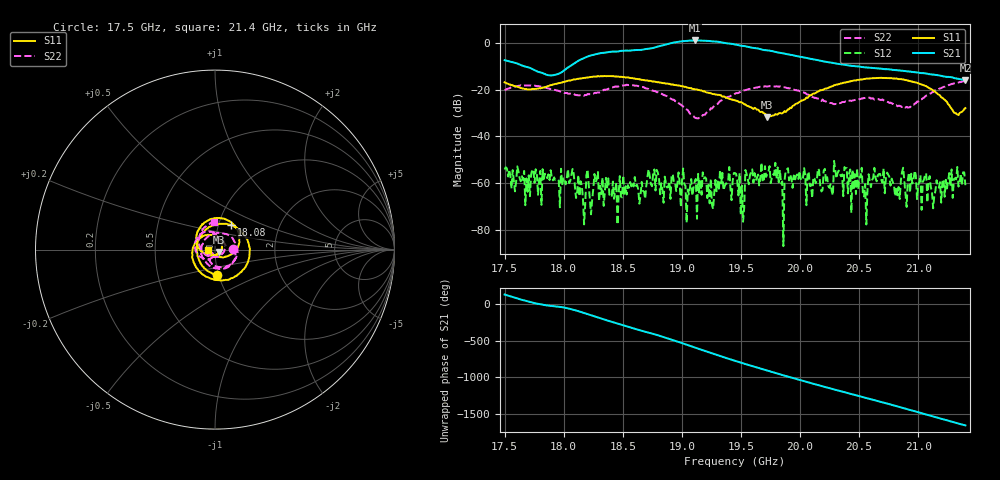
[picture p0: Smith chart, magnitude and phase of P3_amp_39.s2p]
!Created with skrf (http://scikit-rf.org).
# GHz S RI R 50.0
!freq ReS11 ImS11 ReS21 ImS21 ReS12 ImS12 ReS22 ImS22
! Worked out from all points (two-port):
!   401 points, 17.5 GHz to 21.4 GHz, reference 50 ohm
!   highest |S21| = 1.12 dB at 19.11 GHz (marker M1); lowest = -15.9 dB at 21.4 GHz (marker M2)
!   |S21| within 3 dB of the highest: 18.77 GHz to 19.58 GHz (808.2 MHz wide, 4.22 % of centre)
!   lowest |S11| = -31.7 dB at 19.72 GHz (marker M3), VSWR 1.05, Z = 52.2 - j1.42 ohm
!   |S11| at or under -10 dB: start of sweep to end of sweep
!   |S22| runs from -32.3 to -16.2 dB; largest |S21 - S12| = 1.1
!   S11 on the Smith chart (normalised r, x): 17.5 GHz: 0.98, -0.29; 18.08 GHz: 1.15, +0.32; 21.4 GHz: 0.92, -0.00
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17.5  0.00864 -0.1435  -0.2634 0.3381  -0.00179 -0.000746  0.0977 0.00105
17.70475  -0.0997 -0.0147  0.2566 0.1546  -0.00102 0.00105  0.0946 -0.0785
18.07525  0.0884 0.1362  0.0831 -0.337  0.00164 -0.00114  -0.074 -0.0306
18.15325  0.1419 0.1055  -0.1797 -0.4167  -0.000618 0.000627  -0.0743 0.0194
18.30925  0.1934 -0.0141  -0.5857 0.1576  0.000594 -0.000637  0.00391 0.0888
18.48475  0.1219 -0.1456  0.1522 0.6625  0.000322 0.000396  0.1183 0.0263
18.6505  -0.0122 -0.1644  0.7114 -0.0172  0.000332 -0.000437  0.0747 -0.0897
18.8065  -0.1061 -0.0984  0.2671 -0.8139  0.000317 -0.00126  -0.00737 -0.0835
18.99175  -0.1174 0.0221  -1.064 -0.2104  -0.000303 3.31e-06  -0.0346 -0.0333
19.10875  -0.0749 0.0692  -0.6773 0.9135  0.000316 0.00101  -0.0176 -0.0181
19.1965  -0.0386 0.0831  0.2253 1.1  -0.000866 0.00101  -0.00934 -0.0276
19.294  0.000809 0.0781  0.9669 0.4664  -0.000292 0.000599  -0.0186 -0.0451
19.45  0.0333 0.0488  0.524 -0.7739  0.00156 0.000516  -0.0644 -0.0505
19.5085  0.0389 0.036  0.0839 -0.8705  0.000839 0.000243  -0.0843 -0.0396
19.55725  0.0389 0.0219  -0.2744 -0.7815  0.00114 -0.000459  -0.098 -0.0247
19.723  0.0222 -0.0136  -0.692 0.0998  0.00121 -0.000963  -0.105 0.0515
19.88875  -0.0155 -0.0321  -0.0327 0.5775  -0.00121 -0.00153  -0.0437 0.0999
20.10325  -0.0792 -0.00576  0.451 -0.0335  0.000473 -4.2e-06  0.0157 0.0682
20.47375  -0.0643 0.144  -0.3057 -0.0853  0.000335 0.000472  0.0209 0.0573
20.7565  0.0859 0.1546  0.0794 0.2618  0.000147 0.00135  0.052 -0.00465
21.07825  0.1141 -0.00529  0.0673 -0.2103  0.000121 -0.000363  -0.076 1.53e-05
21.4  -0.0403 -0.00113  -0.1285 0.0967  -0.000883 -0.000159  -0.00819 0.1538
